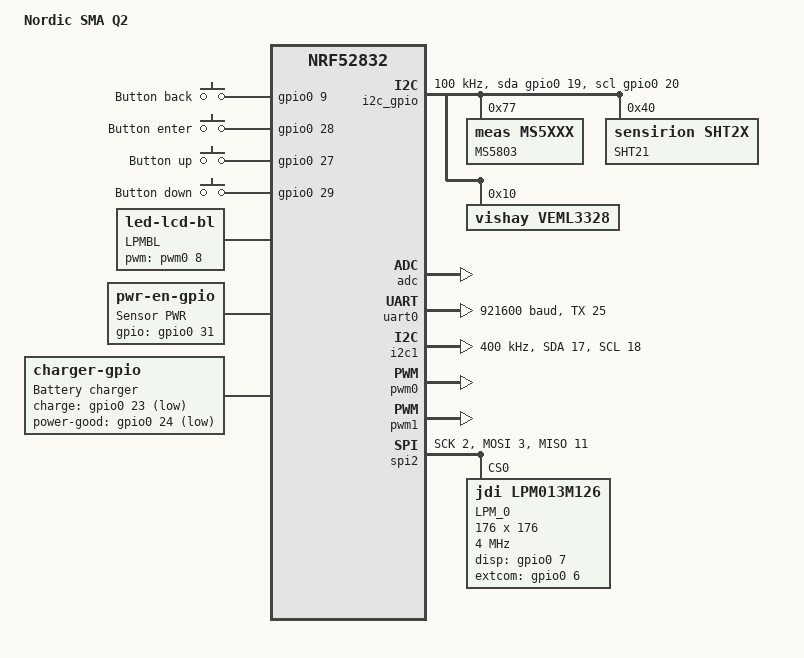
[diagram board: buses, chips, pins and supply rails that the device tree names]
/*
 *
 * SPDX-License-Identifier: Apache-2.0
 */

/dts-v1/;

#include <nordic/nrf52832_qfaa.dtsi>

/ {
    model = "Nordic SMA Q2";
    compatible = "nordic,sma-q2";

    chosen {
        zephyr,console = &uart0;
        zephyr,shell-uart = &uart0;
        zephyr,bt-mon-uart = &uart0;
        zephyr,bt-c2h-uart = &uart0;
        zephyr,sram = &sram0;
        zephyr,flash = &flash0;
        zephyr,code-partition = &slot0_partition;
    };

    /* These aliases are provided for compatibility with samples */
    aliases {
        sw0 = &button_back;
        watchdog0 = &wdt0;
    };

    buttons {
        compatible = "gpio-keys";
        button_back: button_back {
            gpios = <&gpio0 9 GPIO_PULL_UP>;
            label = "Button back";
        };
        button_enter: button_enter {
            gpios = <&gpio0 28 GPIO_PULL_UP>;
            label = "Button enter";
        };
        button_up: button_up {
            gpios = <&gpio0 27 GPIO_PULL_UP>;
            label = "Button up";
        };
        button_down: button_down {
            gpios = <&gpio0 29 GPIO_PULL_UP>;
            label = "Button down";
        };
    };
    backlight: backlight0 {
        compatible = "led-lcd-bl";
        // gpios = <&gpio0 8 0>;
        pwms = <&pwm0 8>;
        label = "LPMBL";
    };
    poweron: sensor-power-gpio {
        compatible = "pwr-en-gpio";
        gpios = <&gpio0 31 0>;
        label = "Sensor PWR";
    };

    charger_gpio: charger_gpio0 {
        compatible = "charger-gpio";
        charge-gpios = <&gpio0 23 GPIO_ACTIVE_LOW>;
        power-good-gpios = <&gpio0 24 GPIO_ACTIVE_LOW>;
        label = "Battery charger";
    };

    vbat-adc-mon {
        compatible = "adc-vbat";
        adcs = <&adc>;
        gain_nom = < 1 >;
        gain_denom = < 2 >;
        channel = < 3 >;
        multiplyer = <4800>;
        shift = <12>;
        label = "Battery_monitor";
    };

    i2c_gpio {
        clock-frequency = <I2C_BITRATE_STANDARD>;
        compatible = "gpio-i2c";
        sda-gpios = <&gpio0 19 (GPIO_SINGLE_ENDED | GPIO_OPEN_DRAIN) >;
        scl-gpios = <&gpio0 20 (GPIO_SINGLE_ENDED | GPIO_OPEN_DRAIN) >;
        status = "okay";
        label = "SENSOR_I2C";
        #address-cells = <1>;
        #size-cells = <0>;
        ms5803@77 {
            compatible = "meas,ms5xxx";
            reg = <0x77>;
            label = "MS5803";
            model_num = <5803>;
        };
        sht21@40 {
            compatible = "sensirion,sht2x";
            reg = <0x40>;
            label = "SHT21";
        };
        veml3328@10 {
            compatible = "vishay,veml3328";
            reg = <0x10>;
            label = "VEML3328";
        };
    };
};

&adc {
    status = "okay";
    #adc-cells = <0>;
};

&gpiote {
    status = "okay";
};

&gpio0 {
    status = "okay";
};

&uart0 {
    status = "okay";
    compatible = "nordic,nrf-uart";
    current-speed = <921600>;
    tx-pin = <25>;
    /* rx-pin = <26>; */
};

/*&i2c0 {
    clock-frequency = <I2C_BITRATE_FAST>;
    compatible = "nordic,nrf-twim";
    sda-pin = <19>;
    scl-pin = <20>;
    status = "okay";
    ms5803@77 {
        compatible = "meas,ms5xxx";
        reg = <0x77>;
        label = "MS5803";
        model_num = <5803>;
    };
    sht21@40 {
        compatible = "sensirion,sht2x";
        reg = <0x40>;
        label = "SHT21";
    };
    veml3328@10 {
        compatible = "vishay,veml3328";
        reg = <0x10>;
        label = "VEML3328";
    };
};*/

&i2c1 {
/*    status = "okay"; */
    clock-frequency = <I2C_BITRATE_FAST>;
    compatible = "nordic,nrf-twim";
    sda-pin = <17>;
    scl-pin = <18>;
};


&pwm0 {
    status = "okay";
    ch0-pin = <8>;
};

&pwm1 {
    status = "okay";
    ch0-pin = <6>;
};

&spi2 {
    compatible = "nordic,nrf-spim";
    status = "okay";
    sck-pin = <2>;
    mosi-pin = <3>;
    miso-pin = <11>;
    label = "SPI_2";
    lpm013mc126@0 {
        compatible = "jdi,lpm013m126";
        reg = <0>;
        spi-max-frequency = <4000000>;
        label = "LPM_0";
        width = <176>;
        height = <176>;
        cs-gpios = <&gpio0 5 0>;
        disp-gpios = <&gpio0 7 0>;
        extcom-gpios = <&gpio0 6 0>;
        #pwm-cells = <1>;
        // pwms = <&pwm1 6>;
    };        
};


&flash0 {
    /*
     * If chosen's zephyr,code-partition
     * is unset, the image will be linked
     * into the entire flash device.  If
     * it points to an individual
     * partition, the code will be linked
     * to, and restricted to that
     * partition.
     */
    partitions {
        compatible = "fixed-partitions";
        #address-cells = <1>;
        #size-cells = <1>;

        boot_partition: partition@0 {
            label = "mcuboot";
            reg = <0x00000000 0xc000>;
        };
        slot0_partition: partition@c000 {
            label = "image-0";
            reg = <0x0000C000 0x32000>;
        };
        slot1_partition: partition@3e000 {
            label = "image-1";
            reg = <0x0003E000 0x32000>;
        };
        scratch_partition: partition@70000 {
            label = "image-scratch";
            reg = <0x00070000 0xa000>;
        };

        /*
         * The flash starting at 0x0007a000 and ending at
         * 0x0007ffff (sectors 122-127) is reserved for use
         * by the application. If enabled, partition for NFFS
         * will be created in this area.
         */
        storage_partition: partition@7a000 {
            label = "storage";
            reg = <0x0007a000 0x00006000>;
        };
    };
};
